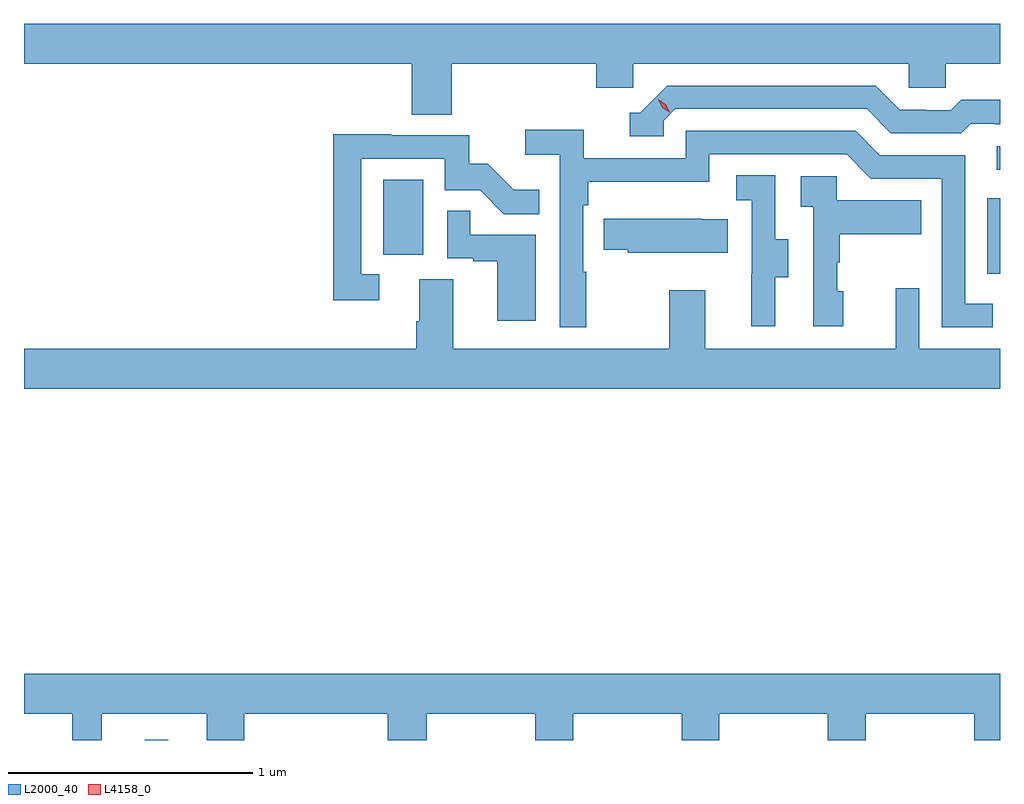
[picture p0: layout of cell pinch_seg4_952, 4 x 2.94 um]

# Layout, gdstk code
import gdstk
lib = gdstk.Library(unit=1e-6, precision=1e-09)
def R(c, l, rs):  # rectangles x0, y0, x1, y1
    for r in rs: c.add(gdstk.rectangle(r[:2], r[2:], *l))
def P(c, l, *ps):  # polygons
    for p in ps: c.add(gdstk.Polygon(p, *l))
L2000_40 = (2000, 40)
L4158_0 = (4158, 0)

pinch_seg4_952 = lib.new_cell('pinch_seg4_952')
R(pinch_seg4_952, L2000_40, [(851.876,772.736,851.974,772.738), (855.33,774.648,855.382,774.958), (852.854,774.726,853.018,775.033), (855.369,775.074,855.382,775.17)])
P(pinch_seg4_952, L2000_40, [(853.136,775.508),(853.727,775.508),(853.727,775.41),(853.878,775.41),(853.878,775.508),(855.009,775.508),(855.009,775.41),(855.159,775.41),(855.159,775.508),(855.382,775.508),(855.382,775.672),(851.382,775.672),(851.382,775.508),(852.971,775.508),(852.971,775.3),(853.136,775.3)],
  [(854.004,775.275),(854.052,775.323),(854.835,775.323),(854.934,775.224),(855.223,775.224),(855.262,775.263),(855.361,775.263),(855.361,775.26),(855.382,775.26),(855.382,775.36),(855.223,775.36),(855.181,775.317),(855.078,775.317),(855.078,775.32),(854.971,775.32),(854.872,775.419),(854.019,775.419),(853.908,775.308),(853.865,775.308),(853.865,775.212),(854.004,775.212)],
  [(853.687,774.656),(853.674,774.656),(853.674,774.929),(853.694,774.929),(853.694,775.025),(854.19,775.025),(854.19,775.137),(854.754,775.137),(854.853,775.038),(855.144,775.038),(855.144,774.429),(855.353,774.429),(855.353,774.525),(855.24,774.525),(855.24,775.134),(854.89,775.134),(854.791,775.233),(854.094,775.233),(854.094,775.122),(853.676,775.122),(853.676,775.238),(853.437,775.238),(853.437,775.136),(853.578,775.136),(853.578,774.429),(853.687,774.429)],
  [(852.838,774.645),(852.765,774.645),(852.765,775.119),(853.107,775.119),(853.107,774.99),(853.251,774.99),(853.349,774.892),(853.493,774.892),(853.493,774.991),(853.389,774.991),(853.282,775.098),(853.206,775.098),(853.206,775.215),(852.887,775.215),(852.887,775.22),(852.649,775.22),(852.649,774.54),(852.838,774.54)],
  [(854.461,774.634),(854.515,774.634),(854.515,774.789),(854.46,774.789),(854.46,775.052),(854.301,775.052),(854.301,774.949),(854.364,774.949),(854.364,774.645),(854.363,774.645),(854.363,774.432),(854.461,774.432)],
  [(854.74,774.576),(854.715,774.576),(854.715,774.695),(854.725,774.695),(854.725,774.809),(855.059,774.809),(855.059,774.949),(854.712,774.949),(854.712,775.047),(854.565,775.047),(854.565,774.923),(854.616,774.923),(854.616,774.432),(854.74,774.432)],
  [(853.48,774.807),(853.211,774.807),(853.211,774.905),(853.116,774.905),(853.116,774.711),(853.223,774.711),(853.223,774.699),(853.322,774.699),(853.322,774.456),(853.48,774.456)],
  [(854.267,774.871),(854.159,774.871),(854.159,774.874),(853.759,774.874),(853.759,774.745),(853.857,774.745),(853.857,774.734),(854.267,774.734)],
  [(855.382,774.34),(855.051,774.34),(855.051,774.589),(854.954,774.589),(854.954,774.34),(854.173,774.34),(854.173,774.58),(854.026,774.58),(854.026,774.34),(853.141,774.34),(853.141,774.626),(853.001,774.626),(853.001,774.452),(852.989,774.452),(852.989,774.34),(851.382,774.34),(851.382,774.176),(855.382,774.176)],
  [(851.701,772.844),(852.131,772.844),(852.131,772.736),(852.284,772.736),(852.284,772.844),(852.872,772.844),(852.872,772.736),(853.032,772.736),(853.032,772.844),(853.477,772.844),(853.477,772.736),(853.632,772.736),(853.632,772.844),(854.077,772.844),(854.077,772.736),(854.232,772.736),(854.232,772.844),(854.677,772.844),(854.677,772.736),(854.832,772.736),(854.832,772.844),(855.277,772.844),(855.277,772.736),(855.382,772.736),(855.382,773.008),(851.382,773.008),(851.382,772.844),(851.58,772.844),(851.58,772.736),(851.701,772.736)])
P(pinch_seg4_952, L4158_0, [(854.028,775.309),(853.997,775.329),(853.981,775.361),(853.981,775.362),(853.982,775.362),(854.012,775.342),(854.028,775.31),(854.028,775.309)])

lib.write_gds('pinch_seg4_952.gds')
